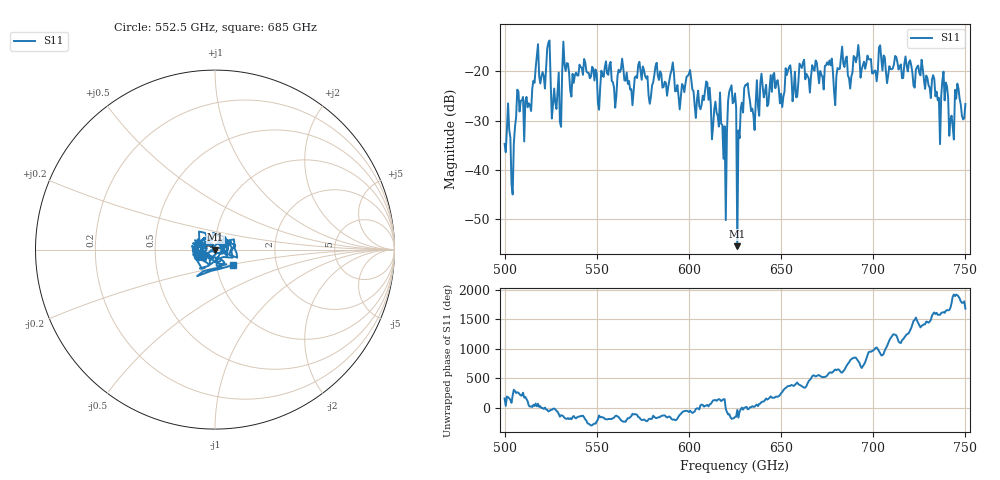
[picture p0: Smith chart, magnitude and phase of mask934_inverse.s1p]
!Created with skrf (http://scikit-rf.org).
# GHz S MA R 50.0
!freq magS11 angS11
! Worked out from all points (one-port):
!   401 points, 500 GHz to 750 GHz, reference 50 ohm
!   lowest |S11| = -55.4 dB at 626.2 GHz (marker M1), VSWR 1.00, Z = 50.1 - j0.107 ohm
!   |S11| at or under -10 dB: start of sweep to end of sweep
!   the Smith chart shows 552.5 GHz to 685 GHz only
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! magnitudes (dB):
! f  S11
! 500 GHz  -34.7
! 504.4 GHz  -45.0
! 507.5 GHz  -24.1
! 513.8 GHz  -26.9
! 516.9 GHz  -19.2
! 523.8 GHz  -14.2
! 526.9 GHz  -23.5
! 531.2 GHz  -19.9
! 533.1 GHz  -19.9
! 551.9 GHz  -23.2
! 562.5 GHz  -20.2
! 593.8 GHz  -22.8
! 610 GHz  -22.3
! 619.4 GHz  -31.1
! 623.8 GHz  -26.5
! 625 GHz  -24.5
! 626.2 GHz  -55.4
! 631.2 GHz  -22.8
! 635 GHz  -28.9
! 656.2 GHz  -26.1
! 687.5 GHz  -23.5
! 690.6 GHz  -18.2
! 718.8 GHz  -20.0
! 735 GHz  -25.9
! 738.8 GHz  -25.9
! 742.5 GHz  -29.0
! 745.6 GHz  -22.5
! 750 GHz  -26.6
